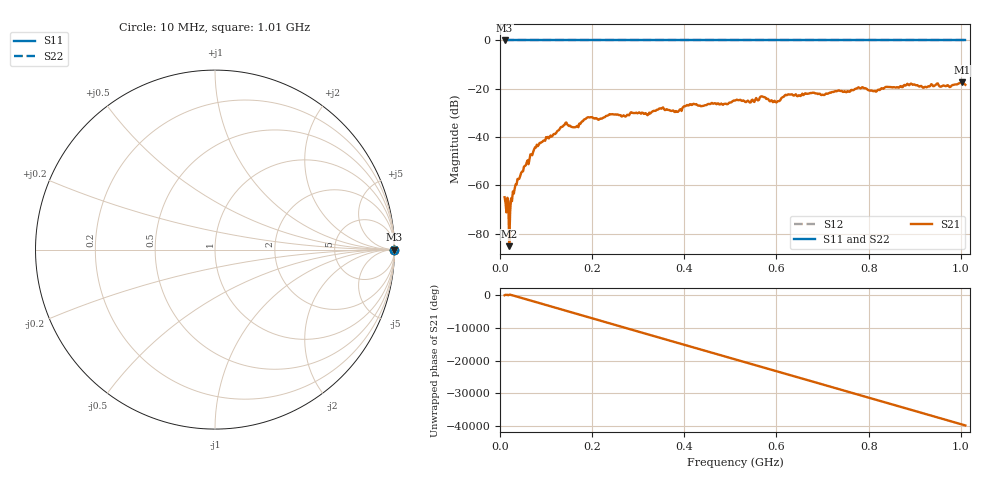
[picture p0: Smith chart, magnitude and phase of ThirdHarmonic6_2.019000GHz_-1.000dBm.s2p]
! 8/17/2025 12:14:25 AM
! C:\ANRITSUVNA\TEMP\TEMP.S2P
! CHANNEL.1
! TR.MEASUREMENT
! RAW.DATA
! RF.CORRECTION.OFF
! AVERAGING.OFF
! IF.BANDWIDTH: 5KHZ
! SWEEPTYPE:  FREQ.SWEEP(Linear)
! Reference Plane Port Info
! PORT:  PORT1  PORT2
! DISTANCE:  0  m  0  m
! TIME:  0  s  0  s
! PHASE.OFFSET:  0  deg.  0  deg.
! LOSS:  0  dB  0  dB
! REF.LOSS:  0  dB  0  dB
! REF.FREQ:  0  Hz  0  Hz
! Power Info
! POWER:  -20  dBm  -20  dBm
! EFF.POWER:  -20  dBm  -20  dBm
! SOURCE.ATTEN:  0  dB  0  dB
! TEST.ATTEN:  0  dB  0  dB
# GHZ S RI R 50.0
! FREQ.GHZ  S11RE  S11IM  S21RE  S21IM  S12RE  S12IM  S22RE  S22IM
!; PortSelection: Port_12
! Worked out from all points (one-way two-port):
!   501 points, 10 MHz to 1.01 GHz, reference 50 ohm
!   highest |S21| = -17.39 dB at 1.002 GHz (marker M1); lowest = -85.2 dB at 20 MHz (marker M2)
!   lowest |S11| = 0.0 dB at 10 MHz (marker M3)
!   |S11| at or under -10 dB: nowhere
!   |S22| runs from 0.0 to 0.0 dB; largest |S21 - S12| = 1.1
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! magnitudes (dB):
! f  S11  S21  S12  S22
! 10 MHz  0.0  -64.9  0.0  0.0
! 14 MHz  0.0  -71.2  0.0  0.0
! 18 MHz  0.0  -66.7  0.0  0.0
! 20 MHz  0.0  -85.2  0.0  0.0
! 24 MHz  0.0  -65.4  0.0  0.0
! 28 MHz  0.0  -62.5  0.0  0.0
! 36 MHz  0.0  -59.7  0.0  0.0
! 78 MHz  0.0  -44.4  0.0  0.0
! 140 MHz  0.0  -35.0  0.0  0.0
! 162 MHz  0.0  -36.0  0.0  0.0
! 178 MHz  0.0  -33.5  0.0  0.0
! 344 MHz  0.0  -28.5  0.0  0.0
! 382 MHz  0.0  -29.2  0.0  0.0
! 410 MHz  0.0  -26.9  0.0  0.0
! 510 MHz  0.0  -24.9  0.0  0.0
! 570 MHz  0.0  -23.3  0.0  0.0
! 602 MHz  0.0  -25.2  0.0  0.0
! 622 MHz  0.0  -22.7  0.0  0.0
! 678 MHz  0.0  -21.7  0.0  0.0
! 844 MHz  0.0  -19.3  0.0  0.0
! 1.002 GHz  0.0  -17.4  0.0  0.0
! 1.01 GHz  0.0  -18.4  0.0  0.0
